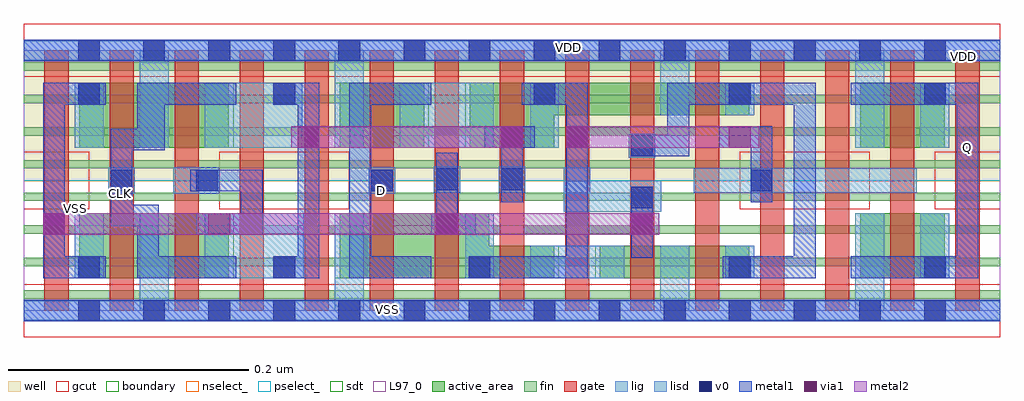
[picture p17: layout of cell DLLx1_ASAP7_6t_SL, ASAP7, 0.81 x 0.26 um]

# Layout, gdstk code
import gdstk
lib = gdstk.Library(unit=1e-6, precision=2.5e-10)
def R(c, l, rs):  # rectangles x0, y0, x1, y1
    for r in rs: c.add(gdstk.rectangle(r[:2], r[2:], *l))
def A(c, l, x, y, w, h, nx, ny, dx, dy):  # array of equal rectangles
    R(c, l, [(x+i*dx, y+j*dy, x+i*dx+w, y+j*dy+h) for i in range(nx) for j in range(ny)])
def P(c, l, *ps):  # polygons
    for p in ps: c.add(gdstk.Polygon(p, *l))
well = (1, 0)
fin = (2, 0)
gate = (7, 0)
gcut = (10, 0)
active_area = (11, 0)
nselect_ = (12, 0)
pselect_ = (13, 0)
lig = (16, 0)
lisd = (17, 0)
v0 = (18, 0)
metal1 = (19, 0)
metal2 = (20, 0)
via1 = (21, 0)
sdt = (88, 0)
L97_0 = (97, 0)
boundary = (100, 0)

dllx1_asap7_6t_sl = lib.new_cell('DLLx1_ASAP7_6t_SL')
R(dllx1_asap7_6t_sl, well, [(0,0.108,0.81,0.216)])
A(dllx1_asap7_6t_sl, fin, 0, 0.01, 0.81, 0.007, 1, 8, 0, 0.027)
A(dllx1_asap7_6t_sl, gate, 0.017, 0, 0.02, 0.216, 15, 1, 0.054, 0)
R(dllx1_asap7_6t_sl, gcut, [(0,-0.022,0.81,0.022), (0,0.084,0.054,0.132), (0.162,0.084,0.27,0.132), (0.594,0.084,0.702,0.132), (0.756,0.084,0.81,0.132), (0,0.194,0.81,0.238)])
R(dllx1_asap7_6t_sl, active_area, [(0.046,0.027,0.17,0.081), (0.478,0.027,0.602,0.054), (0.694,0.027,0.764,0.081), (0.046,0.135,0.17,0.189), (0.262,0.135,0.332,0.189), (0.694,0.135,0.764,0.189)])
P(dllx1_asap7_6t_sl, active_area, [(0.602,0.162),(0.44,0.162),(0.44,0.135),(0.37,0.135),(0.37,0.189),(0.602,0.189)],
  [(0.44,0.027),(0.262,0.027),(0.262,0.081),(0.386,0.081),(0.386,0.054),(0.44,0.054)])
R(dllx1_asap7_6t_sl, nselect_, [(0,0,0.81,0.108)])
R(dllx1_asap7_6t_sl, pselect_, [(0,0.108,0.81,0.216)])
R(dllx1_asap7_6t_sl, lig, [(0,-0.008,0.81,0.008), (0.07,0.097,0.092,0.119), (0.124,0.097,0.162,0.119), (0.286,0.097,0.308,0.119), (0.448,0.097,0.47,0.119), (0.34,0.098,0.362,0.12), (0.394,0.098,0.416,0.12), (0.556,0.098,0.741,0.118), (0.502,0.127,0.524,0.147), (0,0.208,0.81,0.224)])
R(dllx1_asap7_6t_sl, lisd, [(0.096,0,0.12,0.081), (0.258,0,0.282,0.081), (0.528,0,0.552,0.054), (0.69,0,0.714,0.081), (0.042,0.027,0.066,0.081), (0.15,0.027,0.232,0.081), (0.366,0.027,0.39,0.081), (0.42,0.027,0.498,0.054), (0.582,0.027,0.606,0.054), (0.744,0.027,0.768,0.081), (0.448,0.082,0.529,0.108), (0.042,0.135,0.066,0.189), (0.096,0.135,0.12,0.216), (0.15,0.135,0.231,0.189), (0.258,0.135,0.282,0.216), (0.312,0.135,0.39,0.189), (0.42,0.135,0.444,0.189), (0.69,0.135,0.714,0.216), (0.744,0.135,0.768,0.189), (0.528,0.162,0.552,0.216), (0.582,0.162,0.606,0.189)])
A(dllx1_asap7_6t_sl, v0, 0.045, -0.009, 0.018, 0.018, 14, 2, 0.054, 0.216)
A(dllx1_asap7_6t_sl, v0, 0.045, 0.027, 0.018, 0.018, 3, 1, 0.162, 0)
A(dllx1_asap7_6t_sl, v0, 0.423, 0.171, 0.018, 0.018, 3, 1, 0.162, 0)
R(dllx1_asap7_6t_sl, v0, [(0.585,0.027,0.603,0.045), (0.747,0.027,0.765,0.045), (0.504,0.085,0.522,0.103), (0.072,0.099,0.09,0.117), (0.143,0.099,0.161,0.117), (0.288,0.099,0.306,0.117), (0.603,0.099,0.621,0.117), (0.342,0.1,0.36,0.118), (0.396,0.1,0.414,0.118), (0.504,0.128,0.522,0.146), (0.045,0.171,0.063,0.189), (0.207,0.171,0.225,0.189)])
R(dllx1_asap7_6t_sl, metal1, [(0,-0.009,0.81,0.009), (0.504,0.044,0.522,0.103), (0,0.207,0.81,0.225)])
P(dllx1_asap7_6t_sl, metal1, [(0.198,0.117),(0.138,0.117),(0.138,0.099),(0.18,0.099),(0.18,0.081),(0.143,0.081),(0.143,0.063),(0.198,0.063)],
  [(0.176,0.045),(0.112,0.045),(0.112,0.088),(0.09,0.088),(0.09,0.133),(0.117,0.133),(0.117,0.171),(0.176,0.171),(0.176,0.189),(0.094,0.189),(0.094,0.151),(0.072,0.151),(0.072,0.07),(0.094,0.07),(0.094,0.027),(0.176,0.027)],
  [(0.068,0.045),(0.034,0.045),(0.034,0.171),(0.068,0.171),(0.068,0.189),(0.016,0.189),(0.016,0.027),(0.068,0.027)],
  [(0.792,0.189),(0.686,0.189),(0.686,0.171),(0.774,0.171),(0.774,0.045),(0.686,0.045),(0.686,0.027),(0.792,0.027)],
  [(0.657,0.189),(0.534,0.189),(0.534,0.146),(0.504,0.146),(0.504,0.128),(0.552,0.128),(0.552,0.171),(0.639,0.171),(0.639,0.045),(0.58,0.045),(0.58,0.027),(0.657,0.027)],
  [(0.621,0.153),(0.577,0.153),(0.577,0.135),(0.603,0.135),(0.603,0.09),(0.621,0.09)],
  [(0.468,0.189),(0.413,0.189),(0.413,0.171),(0.45,0.171),(0.45,0.045),(0.369,0.045),(0.369,0.027),(0.468,0.027)],
  [(0.424,0.153),(0.382,0.153),(0.382,0.135),(0.396,0.135),(0.396,0.09),(0.414,0.09),(0.414,0.135),(0.424,0.135)],
  [(0.245,0.189),(0.207,0.189),(0.207,0.171),(0.227,0.171),(0.227,0.045),(0.207,0.045),(0.207,0.027),(0.245,0.027)],
  [(0.338,0.045),(0.288,0.045),(0.288,0.099),(0.306,0.099),(0.306,0.117),(0.288,0.117),(0.288,0.171),(0.338,0.171),(0.338,0.189),(0.27,0.189),(0.27,0.027),(0.338,0.027)],
  [(0.375,0.081),(0.36,0.081),(0.36,0.131),(0.342,0.131),(0.342,0.081),(0.338,0.081),(0.338,0.063),(0.375,0.063)])
R(dllx1_asap7_6t_sl, metal2, [(0.016,0.063,0.527,0.081), (0.222,0.135,0.414,0.153), (0.45,0.135,0.61,0.153)])
R(dllx1_asap7_6t_sl, via1, [(0.016,0.063,0.034,0.081), (0.153,0.063,0.171,0.081), (0.342,0.063,0.36,0.081), (0.504,0.063,0.522,0.081), (0.227,0.135,0.245,0.153), (0.396,0.135,0.414,0.153), (0.45,0.135,0.468,0.153), (0.585,0.135,0.603,0.153)])
A(dllx1_asap7_6t_sl, sdt, 0.042, 0.027, 0.024, 0.054, 3, 2, 0.054, 0.108)
A(dllx1_asap7_6t_sl, sdt, 0.42, 0.027, 0.024, 0.027, 4, 1, 0.054, 0)
A(dllx1_asap7_6t_sl, sdt, 0.258, 0.135, 0.024, 0.054, 4, 1, 0.054, 0)
R(dllx1_asap7_6t_sl, sdt, [(0.258,0.027,0.282,0.081), (0.366,0.027,0.39,0.081), (0.69,0.027,0.714,0.081), (0.744,0.027,0.768,0.081), (0.69,0.135,0.714,0.189), (0.744,0.135,0.768,0.189), (0.528,0.162,0.552,0.189), (0.582,0.162,0.606,0.189)])
R(dllx1_asap7_6t_sl, L97_0, [(0,0,0.81,0.216)])
R(dllx1_asap7_6t_sl, boundary, [(0,0,0.81,0.216)])
dllx1_asap7_6t_sl.add(gdstk.Label('VSS', (0.043,0.085), layer=3, texttype=251))
dllx1_asap7_6t_sl.add(gdstk.Label('Q', (0.783,0.135), layer=19, texttype=251))
dllx1_asap7_6t_sl.add(gdstk.Label('VSS', (0.302,0.001), layer=19, texttype=251))
dllx1_asap7_6t_sl.add(gdstk.Label('D', (0.297,0.1), layer=19, texttype=251))
dllx1_asap7_6t_sl.add(gdstk.Label('CLK', (0.08,0.097), layer=19, texttype=251))
dllx1_asap7_6t_sl.add(gdstk.Label('VDD', (0.452,0.218), layer=19, texttype=251))
dllx1_asap7_6t_sl.add(gdstk.Label('VDD', (0.78,0.211), layer=1, texttype=251))

lib.write_gds('DLLx1_ASAP7_6t_SL.gds')
